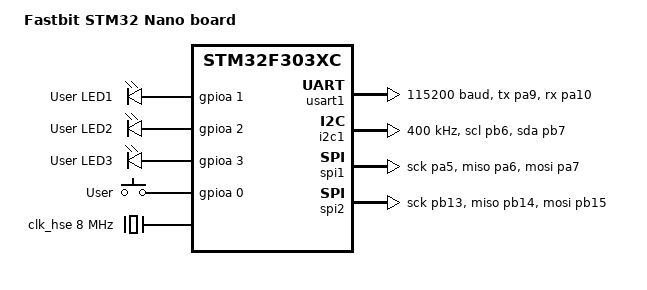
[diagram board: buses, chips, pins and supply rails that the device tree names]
/*
 * Copyright (c) 2026 Fastbit Embedded Technologies
 *
 * SPDX-License-Identifier: Apache-2.0
 */

/dts-v1/;
#include <st/f3/stm32f303Xc.dtsi>
#include <st/f3/stm32f303c(b-c)tx-pinctrl.dtsi>
#include <zephyr/dt-bindings/input/input-event-codes.h>
#include "fastbit_stm32_nano_connector.dtsi"

/ {
	model = "Fastbit STM32 Nano board";
	compatible = "fastbit,stm32-nano";

	chosen {
		zephyr,console = &usart1;
		zephyr,shell-uart = &usart1;
		zephyr,sram = &sram0;
		zephyr,flash = &flash0;
		zephyr,dtcm = &ccm0;
	};

	leds {
		compatible = "gpio-leds";

		blue_led_1: led_1 {
			gpios = <&gpioa 1 GPIO_ACTIVE_HIGH>;
			label = "User LED1";
		};

		green_led_2: led_2 {
			gpios = <&gpioa 2 GPIO_ACTIVE_HIGH>;
			label = "User LED2";
		};

		red_led_3: led_3 {
			gpios = <&gpioa 3 GPIO_ACTIVE_HIGH>;
			label = "User LED3";
		};
	};

	gpio_keys {
		compatible = "gpio-keys";

		user_button: button {
			label = "User";
			gpios = <&gpioa 0 GPIO_ACTIVE_HIGH>;
			zephyr,code = <INPUT_KEY_0>;
		};
	};

	aliases {
		led0 = &blue_led_1;
		led1 = &green_led_2;
		led2 = &red_led_3;
		sw0 = &user_button;
	};
};

&clk_hse {
	clock-frequency = <DT_FREQ_M(8)>; /* 8 MHz crystal (Y1) */
	status = "okay";
};

&pll {
	prediv = <1>;
	mul = <9>;
	clocks = <&clk_hse>;
	status = "okay";
};

&rcc {
	clocks = <&pll>;
	clock-frequency = <DT_FREQ_M(72)>;
	ahb-prescaler = <1>;
	apb1-prescaler = <2>;
	apb2-prescaler = <1>;
};

/* Console: reaches the on-board CH340N when slide switch SW4 is set to UART */
&usart1 {
	pinctrl-0 = <&usart1_tx_pa9 &usart1_rx_pa10>;
	pinctrl-names = "default";
	current-speed = <115200>;
	status = "okay";
};

/* On-board IMU, also available on header P3 */
&i2c1 {
	pinctrl-0 = <&i2c1_scl_pb6 &i2c1_sda_pb7>;
	pinctrl-names = "default";
	scl-gpios = <&gpiob 6 GPIO_ACTIVE_HIGH>;
	sda-gpios = <&gpiob 7 GPIO_ACTIVE_HIGH>;
	clock-frequency = <I2C_BITRATE_FAST>;
	status = "okay";
};

/* Available on header P1 */
&spi1 {
	pinctrl-0 = <&spi1_sck_pa5 &spi1_miso_pa6 &spi1_mosi_pa7>;
	pinctrl-names = "default";
	status = "okay";
};

/* Available on header P2 */
&spi2 {
	pinctrl-0 = <&spi2_sck_pb13 &spi2_miso_pb14 &spi2_mosi_pb15>;
	pinctrl-names = "default";
	status = "okay";
};
